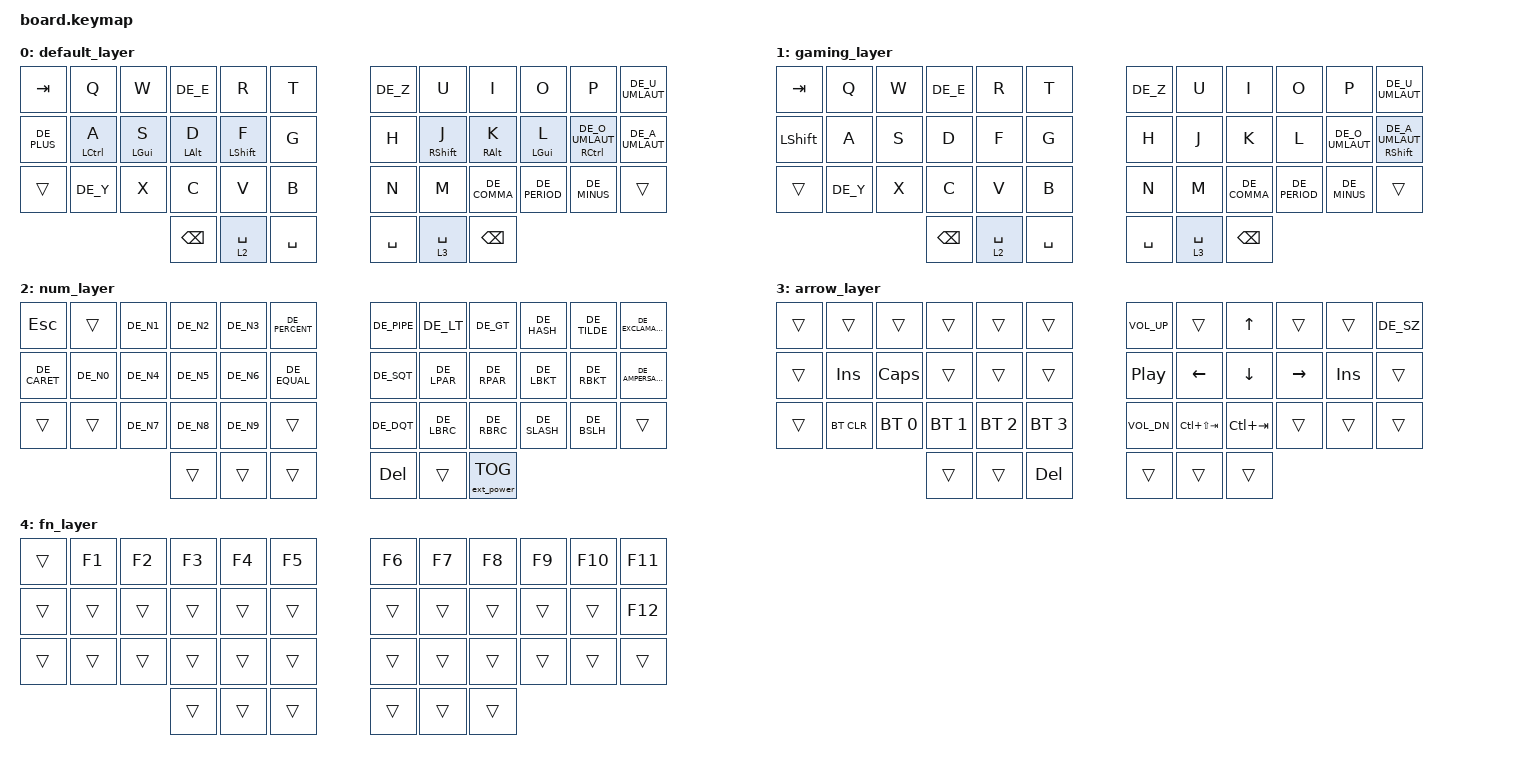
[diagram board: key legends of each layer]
#include <behaviors.dtsi>
#include <dt-bindings/zmk/keys.h>
#include <dt-bindings/zmk/bt.h>
#include "keys_de.h"
#include <dt-bindings/zmk/outputs.h>
#include <dt-bindings/zmk/ext_power.h>

/ {
        combos {
                compatible = "zmk,combos";
                combo_ret {
                        timeout-ms = <100>;
                        key-positions = <11 23>;
                        bindings = <&kp RET>;
                };
                
                combo_bcps {
                        timeout-ms = <100>;
                        key-positions = <38 39>;
                        bindings = <&kp BSPC>;
                };

                combo_tggaming {
                        timeout-ms = <100>;
                        key-positions = <12 23>;
                        bindings = <&tog 1>;
                };
        };

        behaviors {
                bhm: balanced_homerow_mods {
                        compatible = "zmk,behavior-hold-tap";
                        #binding-cells = <2>;
                        tapping-term-ms = <200>;
                        quick-tap-ms = <0>;
                        flavor = "balanced";
                        bindings = <&kp>, <&kp>;
                };
        };

        conditional_layers {
                compatible = "zmk,conditional-layers";
                tri_layer {
                        if-layers = <2 3>;
                        then-layer = <4>;
                };
        };

        keymap {
                compatible = "zmk,keymap";

                default_layer {
                        bindings = 
                            //  tab     Q       W       E       R       T                                                       Z       U       I       O       P       Ü 
                            
                            //  +       A-ctrl  S-gui   D-alt   F-shift G                                                       H       J-shift  K-alt   L-gui  Ö-ctrl  Ä    
                            
                            //          Y       X       C       V       B                                                       N       M       ,       .       -    
                            
                            //                          bspc    spc(1)  spc                                                     spc     spc(2)  bspc  
                            
                        <
                        &kp TAB         &kp Q           &kp W           &kp DE_E        &kp R           &kp T                   &kp DE_Z        &kp U           &kp I           &kp O           &kp P           &kp DE_U_UMLAUT
                        &kp DE_PLUS     &bhm LCTRL A    &bhm LGUI S     &bhm LALT D     &bhm LSHIFT F   &kp G                   &kp H           &bhm RSHIFT J   &bhm RALT K     &bhm LGUI L     &bhm RCTRL DE_O_UMLAUT   &kp DE_A_UMLAUT
                        &trans          &kp DE_Y        &kp X           &kp C           &kp V           &kp B                   &kp N           &kp M           &kp DE_COMMA    &kp DE_PERIOD   &kp DE_MINUS    &trans
                                                                        &kp BSPC        &lt 2 SPACE     &kp SPACE               &kp SPACE       &lt 3 SPACE     &kp BSPC        
                        >;
                };

                gaming_layer {
                        bindings = 
                            //  tab     Q       W       E       R       T                                                       Z       U       I       O       P       Ü
                            
                            //  shift   A       S       D       F       G                                                       H       J       K       L       Ö       Ä(shift)     
                            
                            //          Y       X       C       V       B                                                       N       M       ,       .       -      
                            
                            //                          bcsp    spc(1)  spc                                                     spc     spc(2)  bcsp
                            
                        <
                        &kp TAB         &kp Q           &kp W           &kp DE_E        &kp R           &kp T                   &kp DE_Z        &kp U           &kp I           &kp O           &kp P           &kp DE_U_UMLAUT
                        &kp LSHIFT      &kp A           &kp S           &kp D           &kp F           &kp G                   &kp H           &kp J           &kp K           &kp L           &kp DE_O_UMLAUT &mt RSHIFT DE_A_UMLAUT
                        &trans          &kp DE_Y        &kp X           &kp C           &kp V           &kp B                   &kp N           &kp M           &kp DE_COMMA    &kp DE_PERIOD   &kp DE_MINUS    &trans
                                                                        &kp BSPC        &lt 2 SPACE     &kp SPACE               &kp SPACE       &lt 3 SPACE     &kp BSPC
                        >;
                };

                num_layer {
                        bindings =
                            //  esc     _       1       2       3       %                                                       |       <       >       #       ⁓       !      
                            
                            //  ^^      0       4       5       6       =                                                       '       (       )       [       ]       &       
                            
                            //          _       7       8       9       _                                                       "       {       }       /       \       
                            
                            //                          _       _       _                                                       del     _       ext_power

                        <
                        &kp ESC         &trans          &kp DE_N1       &kp DE_N2       &kp DE_N3       &kp DE_PERCENT          &kp DE_PIPE     &kp DE_LT       &kp DE_GT       &kp DE_HASH     &kp DE_TILDE    &kp DE_EXCLAMATION
                        &kp DE_CARET    &kp DE_N0       &kp DE_N4       &kp DE_N5       &kp DE_N6       &kp DE_EQUAL            &kp DE_SQT      &kp DE_LPAR     &kp DE_RPAR     &kp DE_LBKT     &kp DE_RBKT     &kp DE_AMPERSAND
                        &trans          &trans          &kp DE_N7       &kp DE_N8       &kp DE_N9       &trans                  &kp DE_DQT      &kp DE_LBRC     &kp DE_RBRC     &kp DE_SLASH    &kp DE_BSLH     &trans
                                                                        &trans          &trans          &trans                  &kp DEL         &trans          &ext_power EP_TOG
                        >;
                };

                arrow_layer {
                        bindings =
                            //  _       _       _       _       _       _                                                       v_up    _       up      _       _       ß
 
                            //  _       insert  capslock_       _       _                                                       play    left    down    right   insert  _
                        
                            //          bt c    bt 1    bt 2    bt 3    bt 4                                                    v_down  p_tab   n_tab   _       _       
                            
                            //                          _       _       del                                                     _       _       _

                        <
                        &trans          &trans          &trans          &trans          &trans          &trans                  &kp C_VOL_UP    &trans          &kp UP          &trans          &trans          &kp DE_SZ
                        &trans          &kp INSERT      &kp CAPS        &trans          &trans          &trans                  &kp C_PP        &kp LEFT        &kp DOWN        &kp RIGHT       &kp INSERT      &trans
                        &trans          &bt BT_CLR      &bt BT_SEL 0    &bt BT_SEL 1    &bt BT_SEL 2    &bt BT_SEL 3            &kp C_VOL_DN    &kp LC(LS(TAB)) &kp LC(TAB)     &trans          &trans          &trans
                                                                        &trans          &trans          &kp DEL                 &trans          &trans          &trans
                        >;
                };

                fn_layer {
                        bindings =
                            //  _       f1      f2      f3      f4      f5                                                      f6      f7      f8      f9      f10     f11
 
                            //  _       _       _       _       _       _                                                       _       _       _       _       _       f12
                        
                            //          _       _       _       _       _                                                       _       _       _       _       _       
                            
                            //                          _       _       _                                                       _       _       _

                        <
                        &trans          &kp F1          &kp F2          &kp F3          &kp F4          &kp F5                  &kp F6          &kp F7          &kp F8          &kp F9          &kp F10         &kp F11
                        &trans          &trans          &trans          &trans          &trans          &trans                  &trans          &trans          &trans          &trans          &trans          &kp F12
                        &trans          &trans          &trans          &trans          &trans          &trans                  &trans          &trans          &trans          &trans          &trans          &trans
                                                                        &trans          &trans          &trans                  &trans          &trans          &trans
                        >;
                };
        };
};
